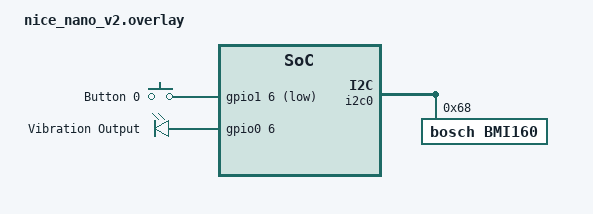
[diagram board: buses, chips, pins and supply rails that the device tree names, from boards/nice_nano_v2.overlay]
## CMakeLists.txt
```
#-------------------------------------------------------------------------------
# Zephyr Example Application
#
# Copyright (c) 2021 Nordic Semiconductor ASA
# SPDX-License-Identifier: Apache-2.0

cmake_minimum_required(VERSION 3.13.1)
find_package(Zephyr REQUIRED HINTS $ENV{ZEPHYR_BASE})
add_compile_options(-Wall -Wextra -Wpedantic)

project(app LANGUAGES C)

target_sources(app PRIVATE
    src/main.c
    src/bluetooth_support.c
    src/sensor_processing.c
    src/posture_detection.c
    src/vibration.c
    src/telemetry_storage.c)
```

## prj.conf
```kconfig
# Copyright (c) 2021 Nordic Semiconductor ASA
# SPDX-License-Identifier: Apache-2.0
#
# This file contains selected Kconfig options for the application.

CONFIG_SENSOR=y

CONFIG_INPUT=y
CONFIG_INPUT_GPIO_KEYS=y

CONFIG_POWEROFF=y
CONFIG_LOG=y
# Enable logging subsystem
CONFIG_LOG_DEFAULT_LEVEL=3
# Set log level (0=Off, 1=Error, 2=Warning, 3=Info, 4=Debug)
CONFIG_LOG_MODE_DEFERRED=y 
# Use deferred logging (better performance)
CONFIG_LOG_PROCESS_THREAD=y 
# Process logs in a dedicated thread
CONFIG_LOG_BACKEND_UART=y 
# Enable UART logging backend

CONFIG_I2C=y

CONFIG_CBPRINTF_COMPLETE=y
# Enable full printf formatting support
CONFIG_CBPRINTF_FP_SUPPORT=y
# Enable floating-point support in cbprintf
CONFIG_PICOLIBC=y
# Ensure Picolibc is used

CONFIG_BT=y

CONFIG_BT_SMP=y
CONFIG_BT_SIGNING=y
CONFIG_BT_PERIPHERAL=y
CONFIG_BT_MAX_PAIRED=1
CONFIG_BT_SETTINGS=y
CONFIG_BT_DIS=y
CONFIG_BT_ATT_PREPARE_COUNT=1
# CONFIG_BT_PRIVACY=y
CONFIG_BT_KEYS_OVERWRITE_OLDEST=y

CONFIG_BT_ZEPHYR_NUS=y
CONFIG_BT_DEVICE_NAME="Posture Tracker"
CONFIG_BT_L2CAP_TX_MTU=512
CONFIG_BT_BUF_ACL_RX_SIZE=516

# Let __ASSERT do its job
# CONFIG_DEBUG=y

CONFIG_FLASH=y
CONFIG_NVS=y
CONFIG_FCB=y
CONFIG_SETTINGS=y
CONFIG_SETTINGS_NVS=y
CONFIG_MPU_ALLOW_FLASH_WRITE=y
# CONFIG_SOC_FLASH_NRF_EMULATE_ONE_BYTE_WRITE_ACCESS=y

CONFIG_BMI160_ACCEL_ODR_50=y
```

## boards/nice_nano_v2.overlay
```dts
/ {
	gpio_keys {
		compatible = "gpio-keys";
		polling-mode;
		no-disconnect;
		debounce-interval-ms = <80>;
		button_0: button_0 {
			label = "Button 0";
			gpios = <&gpio1 6 (GPIO_ACTIVE_LOW | GPIO_PULL_UP)>;
			zephyr,code = <INPUT_KEY_0>;
		};
	};
longpress {
        compatible = "zephyr,input-longpress";
        input-codes = <INPUT_KEY_0>;
        short-codes = <INPUT_KEY_POWER>;
        long-codes = <INPUT_KEY_DELETE>;
        long-delay-ms = <2000>;
};

	gpio_outputs {
		compatible = "gpio-leds";
		vibration_output: gpio_output  {
			label = "Vibration Output";
			gpios = <&gpio0 6 GPIO_ACTIVE_HIGH>;
		};

	};


};

&i2c0 {
	status = "okay";
	bmi160@68 {
		compatible = "bosch,bmi160";
		reg = <0x68>;
	};

};
```

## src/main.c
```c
/*
 * Copyright (c) 2021 Nordic Semiconductor ASA
 * SPDX-License-Identifier: Apache-2.0
 */

#include "app/bluetooth_support.h"
#include "zephyr/drivers/gpio.h"
#include "zephyr/sys/poweroff.h"
#include "zephyr/sys/printk.h"
#include <zephyr/drivers/sensor.h>
#include <zephyr/input/input.h>
#include <zephyr/kernel.h>
#include <zephyr/logging/log.h>

#include "app/sensor_processing.h"

#include <app_version.h>

LOG_MODULE_REGISTER(main, CONFIG_APP_LOG_LEVEL);

#define BLINK_PERIOD_MS_STEP 100U
#define BLINK_PERIOD_MS_MAX 1000U

int init_device(const struct device *const dev) {

        if (!device_is_ready(dev)) {
                LOG_ERR("Device %s is not ready\n", dev->name);
                return 1;
        }

        printk("Device %p name is %s\n", dev, dev->name);

        return 0;
}

int main(void) {
        const struct device *const bmi160 = DEVICE_DT_GET_ANY(bosch_bmi160);

        printk("Zephyr not Example Application %s\n", APP_VERSION_STRING);

        if (init_device(bmi160)) {
                LOG_ERR("Gyro not ready");
                return 0;
        }

        printk("Initialization complete\n");

        sensor_processing_start(bmi160);

        while (1) {
                k_sleep(K_MSEC(500));
        } 

        return 0;
}
static void input_callback(struct input_event *event, void *user_data) {
        LOG_INF("Input event: type=%d, code=%d, value=%d", event->type,
                event->code, event->value);
        if (event->type != INPUT_EV_KEY || event->value != 0) {
                return;
        }
        if (event->code == INPUT_KEY_POWER) {

                const struct gpio_dt_spec power_button =
                    GPIO_DT_SPEC_GET(DT_NODELABEL(button_0), gpios);
                int rc = gpio_pin_configure_dt(&power_button, GPIO_INPUT);
                if (rc < 0) {
                        printf("Could not configure sw0 GPIO (%d)\n", rc);
                        return;
                }

                rc = gpio_pin_interrupt_configure_dt(&power_button,
                                                     GPIO_INT_LEVEL_ACTIVE);

                if (rc < 0) {
                        printf("Could not configure sw0 GPIO interrupt (%d)\n",
                               rc);
                        return;
                }
                printf("Power button pressed, shutting down...\n");
                sys_poweroff();
        } else if (event->code == INPUT_KEY_DELETE) {
                bluetooth_remove_bonded_peer();
        }
}

INPUT_CALLBACK_DEFINE(NULL, input_callback, NULL);
```

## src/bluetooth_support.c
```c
#include "app/posture_detection.h"
#include "app/telemetry_storage.h"
#include "services/nus/nus_internal.h"
#include "zephyr/bluetooth/addr.h"
#include "zephyr/bluetooth/bluetooth.h"
#include "zephyr/bluetooth/conn.h"
#include "zephyr/bluetooth/gap.h"
#include "zephyr/bluetooth/services/nus.h"
#include "zephyr/bluetooth/services/nus/inst.h"
#include "zephyr/init.h"
#include "zephyr/kernel.h"
#include "zephyr/logging/log.h"
#include "zephyr/settings/settings.h"

#include "app/bluetooth_support.h"

LOG_MODULE_REGISTER(bt_support, LOG_LEVEL_DBG);

enum bt_adv_type { BT_ADV_NONE, BT_ADV_OPEN, BT_ADV_DIR };

#define DEVICE_NAME CONFIG_BT_DEVICE_NAME
#define DEVICE_NAME_LEN (sizeof(DEVICE_NAME) - 1)
#define POSTURE_NOTIF ((const uint8_t[]){'N', 'P'})
#define MOVEMENT_NOTIF ((const uint8_t[]){'N', 'M'})
#define STATE_MARKER ((const uint8_t)'S')
#define SETTINGS_RESP_MARKER ((const uint8_t)'U')

#define TRANSFER_DONE_MARKER ((const uint8_t[]){'T', 'D'})

#define STATE_REQ_MARKER ((const uint8_t[]){'R', 'S'})
#define SETTINGS_REQ_MARKER ((const uint8_t[]){'R','U'})
#define SETTINGS_MARKER ((const uint8_t[]){'S'})
#define SETTING_CALIBRATION ((const uint8_t[]){'C'})
#define SETTING_WORKING_MARKER ((const uint8_t[]){'W'})
#define SETTING_TIMEOUT_MARKER ((const uint8_t[]){'T'})
#define SETTING_RANGE_MARKER ((const uint8_t[]){'R'})

#define TELEMETRY_MARKER ((const uint8_t[]){'T', 'E', 'L', 'E', 'M'})

static const struct bt_data ad[] = {
    BT_DATA_BYTES(BT_DATA_FLAGS, (BT_LE_AD_GENERAL | BT_LE_AD_NO_BREDR)),
    BT_DATA_BYTES(BT_DATA_UUID128_ALL, BT_UUID_NUS_SRV_VAL),
};

static const struct bt_data sd[] = {
    BT_DATA(BT_DATA_NAME_COMPLETE, DEVICE_NAME, DEVICE_NAME_LEN),
};

static enum bt_adv_type bt_adv_state;
static struct bt_conn *bt_conn;
static K_MUTEX_DEFINE(bt_conn_mutex);

static void copy_last_bonded_addr(const struct bt_bond_info *info, void *data) {
	bt_addr_le_t *bond_addr = data;

	// Copy the last bonded address
	bt_addr_le_copy(bond_addr, &info->addr);
}
static bool get_paired_peer(bt_addr_le_t *bond_addr) {
	bt_addr_le_copy(bond_addr, BT_ADDR_LE_NONE);
	bt_foreach_bond(BT_ID_DEFAULT, copy_last_bonded_addr, bond_addr);
	return bt_addr_le_cmp(bond_addr, BT_ADDR_LE_NONE) != 0;
}

static int update_advertisement(void) {
	enum bt_adv_type desired_adv_type = BT_ADV_NONE;

	bt_addr_le_t peer_address = {0};
	if (bt_conn == NULL) {
		if (get_paired_peer(&peer_address)) {
			char addr_str[BT_ADDR_LE_STR_LEN];
			bt_addr_le_to_str(&peer_address, addr_str, sizeof(addr_str));

			LOG_DBG("Directed advertising to %s", addr_str);
			desired_adv_type = BT_ADV_DIR;
		} else {
			desired_adv_type = BT_ADV_OPEN;
		}
	}

	LOG_INF("Changing adv state from %d to %d", bt_adv_state, desired_adv_type);

	if (desired_adv_type == bt_adv_state) {
		return 0;
	}

	if (bt_adv_state != BT_ADV_NONE) {
		int err = bt_le_adv_stop();
		if (err) {
			LOG_ERR("Failed to stop advertising (err %d)", err);
			return err;
		}
		bt_adv_state = BT_ADV_NONE;
	}

	if (desired_adv_type == BT_ADV_DIR) {
		// Doesn't work with my smartphone - using open advertisement
		if (bt_conn != NULL) {
			LOG_DBG(
			    "Skipping advertising, profile host is already "
			    "connected");
			return 0;
		}

		// struct bt_le_adv_param adv_param = *BT_LE_ADV_CONN_DIR_LOW_DUTY(&peer_address);
		// adv_param.options |= BT_LE_ADV_OPT_DIR_ADDR_RPA;
		// int err = bt_le_adv_start(&adv_param, NULL, 0, NULL, 0);
		int err = bt_le_adv_start(BT_LE_ADV_CONN_FAST_1, ad, ARRAY_SIZE(ad), sd, ARRAY_SIZE(sd));
		if (err) {
			LOG_ERR("Advertising failed to start (err %d)", err);
			return err;
		}
		bt_adv_state = BT_ADV_DIR;
	} else if (desired_adv_type == BT_ADV_OPEN) {
		int err = bt_le_adv_start(BT_LE_ADV_CONN_FAST_1, ad, ARRAY_SIZE(ad), sd, ARRAY_SIZE(sd));
		if (err) {
			LOG_ERR("Advertising failed to start (err %d)", err);
			return err;
		}
		bt_adv_state = BT_ADV_OPEN;
	}
	return 0;
}

static void update_advertising_callback(struct k_work *work) {
	(void)work;
	(void)update_advertisement();
}
K_WORK_DEFINE(update_advertisement_work, &update_advertising_callback);

static void le_param_updated(struct bt_conn *conn, uint16_t interval, uint16_t latency,
			     uint16_t timeout) {
	char addr[BT_ADDR_LE_STR_LEN];

	bt_addr_le_to_str(bt_conn_get_dst(conn), addr, sizeof(addr));

	LOG_DBG("%s: interval %d latency %d timeout %d", addr, interval, latency, timeout);
}

static void connected(struct bt_conn *conn, uint8_t err) {
	char addr[BT_ADDR_LE_STR_LEN];
	struct bt_conn_info info;

	(void)bt_conn_get_info(conn, &info);

	(void)bt_addr_le_to_str(bt_conn_get_dst(conn), addr, sizeof(addr));
	if (err) {
		LOG_WRN("Failed to connect to %s (%u)", addr, err);
		(void)update_advertisement();
		return;
	}

	k_mutex_lock(&bt_conn_mutex, K_FOREVER);
	// Bt advertisement has been stopped
	bt_adv_state = BT_ADV_NONE;
	bt_conn = bt_conn_ref(conn);
	k_mutex_unlock(&bt_conn_mutex);

	LOG_INF("Connected %s", addr);
	(void)update_advertisement();
}

static void disconnected(struct bt_conn *conn, uint8_t reason) {
	char addr[BT_ADDR_LE_STR_LEN];

	(void)bt_addr_le_to_str(bt_conn_get_dst(conn), addr, sizeof(addr));
	k_mutex_lock(&bt_conn_mutex, K_FOREVER);
	bt_conn_unref(bt_conn);
	bt_conn = NULL;
	k_mutex_unlock(&bt_conn_mutex);
	LOG_INF("Disconnected from %s, reson BT_HCI_ERR_ %d", addr, reason);

	// Update ad as work because bluetooth connection state isn't updated
	// here
	(void)k_work_submit(&update_advertisement_work);
}

static void security_changed(struct bt_conn *conn, bt_security_t level, enum bt_security_err err) {
	if (err) {
		LOG_ERR("Security failed (err %d)", err);
	} else {
		LOG_INF("Security level changed to %d", level);
	}
}

static struct bt_conn_cb conn_callbacks = {
    .connected = connected,
    .disconnected = disconnected,
    .le_param_updated = le_param_updated,
    .security_changed = security_changed,
};

static void auth_cancel(struct bt_conn *conn) {
	char addr[BT_ADDR_LE_STR_LEN];

	bt_addr_le_to_str(bt_conn_get_dst(conn), addr, sizeof(addr));

	LOG_DBG("Pairing cancelled: %s", addr);
}

static struct bt_conn_auth_cb auth_cbs = {
    .cancel = &auth_cancel,
};

static inline bool is_secure_enough(struct bt_conn *conn) {
	struct bt_conn_info info;
	int err = bt_conn_get_info(conn, &info);
	if (err != 0) {
		LOG_INF("Failed to get connection info (err %d)", err);
		return false;
	}
	return info.security.level >= BT_SECURITY_L2;
}

static void auth_pairing_complete(struct bt_conn *conn, bool bonded) {
	struct bt_conn_info info;
	char addr[BT_ADDR_LE_STR_LEN];
	const bt_addr_le_t *dst = bt_conn_get_dst(conn);

	bt_addr_le_to_str(dst, addr, sizeof(addr));
	bt_conn_get_info(conn, &info);

	if (info.role != BT_CONN_ROLE_PERIPHERAL) {
		LOG_DBG("SKIPPING FOR ROLE %d", info.role);
		return;
	}
	LOG_INF("Pairing completed");

	(void)update_advertisement();
};

static struct bt_conn_auth_info_cb ble_auth_info_cb_display = {
    .pairing_complete = &auth_pairing_complete,
};

static void bluetooth_send_buf(const uint8_t *buf, size_t len, bt_gatt_complete_func_t callback) {
	if (bt_conn == NULL) {
		LOG_INF("No connection, not sending data");
		return;
	}
	k_mutex_lock(&bt_conn_mutex, K_FOREVER);
	if (is_secure_enough(bt_conn)) {
		// Workaround for filling up all tx pool
		struct bt_nus_inst *instance = bt_nus_inst_default();
		struct bt_gatt_notify_params gatt_params = {
		    .attr = &instance->svc->attrs[1],
		    .data = buf,
		    .len = len,
		    .func = callback,
		};
		int err = bt_gatt_notify_cb(bt_conn, &gatt_params);
		if (err != 0) {
			LOG_ERR("Failed to send data (err %d)", err);
		} else {
			LOG_DBG("Sent %zu bytes", len);
		}
	}
	k_mutex_unlock(&bt_conn_mutex);
}

static void bluetooth_support_notify_settings(void) {
	struct posture_settings settings = posture_detection_get_settings();
	uint8_t buf[sizeof(SETTINGS_RESP_MARKER) + sizeof settings] = {SETTINGS_RESP_MARKER};
	memcpy(buf + sizeof(SETTINGS_RESP_MARKER), &settings, sizeof settings );
	bluetooth_send_buf(buf, sizeof buf, NULL);
}

static void parse_setting_payload(const uint8_t *data, size_t len) {
	size_t offset = 0;
	while (len > offset) {
		if (len - offset < sizeof(SETTING_CALIBRATION)) {
			LOG_ERR("Invalid settings payload");
			return;
		}
		if (memcmp(data + offset, SETTING_CALIBRATION, sizeof(SETTING_CALIBRATION)) == 0) {
			LOG_INF("Calibration settings received");
			offset += sizeof(SETTING_CALIBRATION);
			posture_detection_do_calibration();
		} else {
			if (len - offset < sizeof(SETTING_TIMEOUT_MARKER) + 1) {
				LOG_ERR("Invalid settings value");
				return;
			}
			if (memcmp(data + offset, SETTING_TIMEOUT_MARKER,
				   sizeof(SETTING_TIMEOUT_MARKER)) == 0) {
				offset += sizeof(SETTING_TIMEOUT_MARKER);
				LOG_INF("Timeout marker settings received %d", data[offset]);
				posture_detection_set_timeout(data[offset]);
				offset++;
			} else if (memcmp(data + offset, SETTING_WORKING_MARKER,
					  sizeof(SETTING_WORKING_MARKER)) == 0) {
				LOG_INF("Working marker settings received %d", data[offset]);
				offset += sizeof(SETTING_WORKING_MARKER);
				posture_detection_set_enabled(data[offset]);
				offset++;
			} else if (memcmp(data + offset, SETTING_RANGE_MARKER,
					  sizeof(SETTING_RANGE_MARKER)) == 0) {
				LOG_INF("Range marker settings received %d", data[offset]);
				offset += sizeof(SETTING_RANGE_MARKER);
				posture_detection_set_working_range(data[offset]);
				offset++;
			} else {
				LOG_ERR("Unknown setting marker");
				return;
			}
		}
	}
	posture_detection_save_settings();
	bluetooth_support_notify_settings();
}

static void transfer_telemetry_callback(struct bt_conn *, void *);

struct telemetry_transfer_work {
	struct k_work work;
	unsigned piece;
};

static void transfer_telemetry(struct k_work *work) {
	(void)work;
	struct telemetry_transfer_work *telemetry_trans =
	    CONTAINER_OF(work, struct telemetry_transfer_work, work);
	static uint8_t telemetry_buf[500];
	telemetry_buf[0] = telemetry_trans->piece;
	telemetry_trans->piece++;
	size_t len = sizeof(telemetry_buf) - 1;
	int err = telemetry_get_portion(telemetry_buf + 1, &len);
	if (err < 0) {
		LOG_ERR("Failed to get telemetry portion (err %d)", err);
		bluetooth_send_buf(TRANSFER_DONE_MARKER, sizeof(TRANSFER_DONE_MARKER), NULL);
		return;
	}
	if (err == 1 && len == 0) {
		LOG_INF("Done telemetry transfer");
		bluetooth_send_buf(TRANSFER_DONE_MARKER, sizeof(TRANSFER_DONE_MARKER), NULL);
		return;
	}
	bluetooth_send_buf(telemetry_buf, len + 1, transfer_telemetry_callback);
}

static struct telemetry_transfer_work telemetry_work;

static void start_telemetry_transfer(void) {
	k_work_init(&telemetry_work.work, &transfer_telemetry);
	telemetry_work.piece = 0;
	// Reset internal pointer
	(void)telemetry_get_portion(NULL, NULL);
	k_work_submit(&telemetry_work.work);
}

static void transfer_telemetry_callback(struct bt_conn *, void *) {
	k_work_init(&telemetry_work.work, &transfer_telemetry);
	k_work_submit(&telemetry_work.work);
}

void bluetooth_support_notify_state(enum posture_state state) {
	uint8_t send_buf[] = {STATE_MARKER, (uint8_t)state};
	bluetooth_send_buf(send_buf, sizeof send_buf, NULL);
}

static void bt_data_received(struct bt_conn *conn, const void *data, uint16_t len, void *) {
	if (conn != bt_conn) {
		LOG_WRN("Received data from unknown connection");
		return;
	}

	if (!is_secure_enough(conn)) {
		LOG_WRN("Security level too low, ignoring data");
		return;
	}
	LOG_DBG("Received data: %.*s", len, (char *)data);
	if (len > sizeof(SETTINGS_MARKER) &&
	    memcmp(data, SETTINGS_MARKER, sizeof(SETTINGS_MARKER)) == 0) {
		LOG_INF("Settings received");
		parse_setting_payload((const uint8_t *)data + sizeof(SETTINGS_MARKER),
				      len - sizeof(SETTINGS_MARKER));
	} else if (len == sizeof(TELEMETRY_MARKER) &&
		   memcmp(data, TELEMETRY_MARKER, sizeof(TELEMETRY_MARKER)) == 0) {
		LOG_INF("Telemetry marker received");
		start_telemetry_transfer();
	} else if (len == sizeof(STATE_REQ_MARKER) && memcmp(data, STATE_REQ_MARKER, sizeof(STATE_REQ_MARKER)) == 0) {
		LOG_INF("Sending state");
		bluetooth_support_notify_state(posture_detection_get_state());
	} else if (len == sizeof(SETTINGS_REQ_MARKER) && memcmp(data, SETTINGS_REQ_MARKER, sizeof(SETTINGS_REQ_MARKER)) == 0) {
		LOG_INF("Sending sett");
		bluetooth_support_notify_settings();
	} else {
		LOG_INF("Unknown data received");
	}
}

static void notif_enabled(bool notif, void *) {
	LOG_INF("Notif status changed %d", notif);
}

static struct bt_nus_cb nus_callbacks = {
    .notif_enabled = notif_enabled,
    .received = bt_data_received,
};

static int bluetooth_init(void) {
	int err;
	err = bt_enable(NULL);
	if (err != 0) {
		LOG_ERR("Error enabling bluetooth %d", err);
		return err;
	}

	if (IS_ENABLED(CONFIG_BT_SETTINGS)) {
		settings_load();
	}

	bt_conn_cb_register(&conn_callbacks);
	bt_conn_auth_cb_register(&auth_cbs);
	bt_conn_auth_info_cb_register(&ble_auth_info_cb_display);
	bt_nus_cb_register(&nus_callbacks, NULL);
	k_work_submit(&update_advertisement_work);
	return 0;
}
SYS_INIT(bluetooth_init, APPLICATION, 1);

void bluetooth_support_notify_posture(void) {
	bluetooth_send_buf(POSTURE_NOTIF, sizeof(POSTURE_NOTIF), NULL);
}

void bluetooth_support_notify_movement(void) {
	bluetooth_send_buf(MOVEMENT_NOTIF, sizeof(MOVEMENT_NOTIF), NULL);
}

void bluetooth_remove_bonded_peer(void) {
	LOG_INF("Removing bonded peer");
	bt_unpair(BT_ID_DEFAULT, NULL);
	update_advertisement();
}
```

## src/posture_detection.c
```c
#include "app/posture_detection.h"

#include <stdlib.h>
#include <zephyr/kernel.h>
#include <zephyr/logging/log.h>

#include "app/telemetry_storage.h"
#include "app/vibration.h"
#include "app/bluetooth_support.h"
#include "zephyr/settings/settings.h"

LOG_MODULE_REGISTER(posture_detection, LOG_LEVEL_INF);

#define MOVEMENT_THRESHOLD 1000u

#define POSTURE_DETECTION_ANGLE_THRESHOLD 50

#define POSTURE_NO_MOVEMENT_TIMEOUT_S (60u * 30u)

#define TELEMETRY_SUBMIT_TIMEOUT_S (60u * 30u)

#define HISTEREZIS_ANGLE 2

#define SETTINGS_NAME "posture_detection"

struct posture_work {
	struct k_work work;
	struct posture_data data;

	enum posture_state state;
	int64_t state_start_ts;
	int64_t movement_notification_ts;
	int64_t telemetry_submit_ts;

	bool is_vibrating : 1;

	struct telemetry telemetry;
};


static bool calibration_flag = false;

static struct posture_settings settings = {
	.detection_range = 15,
	.detection_time = 10,
	.is_notifying = true,
	.x_angle_calibration = 5,
};

static int settings_set(const char *name, size_t len, settings_read_cb read_cb, void *cb_arg)
{
    int rc;
	LOG_INF("Settings set: %s, len: %zu", name, len);
    if (*name == '\0') {
        if (len != sizeof(settings)) {
            return -EINVAL;
        }

        rc = read_cb(cb_arg, &settings, sizeof(settings));
        if (rc < 0) {
            return rc;
        }
    }

    return 0;
}

static int settings_export(int (*cb)(const char *name, const void *value, size_t val_len))
{
    return cb(SETTINGS_NAME, &settings, sizeof(settings));
}

SETTINGS_STATIC_HANDLER_DEFINE(posture_detection, "posture_detection", NULL, settings_set, NULL, settings_export);

static inline bool is_posture_angle_in_valid_range(const struct posture_data *data,
						   enum posture_state state) {
	int histeresis_angle = HISTEREZIS_ANGLE;
	if (state == POSTURE_STATE_INVALID) {
		histeresis_angle = -HISTEREZIS_ANGLE;
	}
	return abs(data->x_angle) - histeresis_angle < POSTURE_DETECTION_ANGLE_THRESHOLD &&
	       abs(data->y_angle) - histeresis_angle < POSTURE_DETECTION_ANGLE_THRESHOLD;
}

static inline bool is_posture_angle_correct(const struct posture_data *data,
					    enum posture_state state) {
	int histeresis_angle =
	    (state == POSTURE_STATE_CORRECT) ? HISTEREZIS_ANGLE : -HISTEREZIS_ANGLE;
	return (abs(data->x_angle + settings.x_angle_calibration) - histeresis_angle <
		    settings.detection_range &&
		abs(data->y_angle) - histeresis_angle < settings.detection_range);
}

static void update_stats(struct posture_work *posture_work) {
	unsigned seconds_state = (k_uptime_get() - posture_work->state_start_ts) / 1000;
	LOG_DBG("Posture state changed from %d, old state %u seconds", posture_work->state,
		seconds_state);
	struct telemetry *telemetry = &posture_work->telemetry;
	if (posture_work->state != POSTURE_STATE_MOVEMENTS) {
		telemetry->seconds_not_moving += seconds_state;
	}

	if (posture_work->state == POSTURE_STATE_CORRECT ) {
		telemetry->seconds_in_good_posture += seconds_state;
	}

	if (posture_work->state == POSTURE_STATE_INCORRECT) {
		telemetry->seconds_in_bad_posture += seconds_state;
	}	
}

static void process_data(struct k_work *work) {
	struct posture_work *posture_work = CONTAINER_OF(work, struct posture_work, work);
	struct posture_data data = posture_work->data;
	if (posture_work->state_start_ts == 0) {
		posture_work->state_start_ts = k_uptime_get();
		posture_work->movement_notification_ts = k_uptime_get();
		posture_work->telemetry_submit_ts = k_uptime_get();
	}

	enum posture_state wanted_state = POSTURE_STATE_CORRECT;
	bool is_moving = data.cm_s2_max_accel_diff > MOVEMENT_THRESHOLD;

	if (is_moving) {
		wanted_state = POSTURE_STATE_MOVEMENTS;
	} else if (!is_posture_angle_in_valid_range(&data, posture_work->state)) {
		wanted_state = POSTURE_STATE_INVALID;
	} else if (!is_posture_angle_correct(&data, posture_work->state)) {
		wanted_state = POSTURE_STATE_INCORRECT;
	} else {
		wanted_state = POSTURE_STATE_CORRECT;
	}

	if (calibration_flag && wanted_state == POSTURE_STATE_CORRECT) {
		calibration_flag = false;
		settings.x_angle_calibration = (int8_t)data.x_angle;
		LOG_INF("Calibration done, new offset %d", settings.x_angle_calibration);
	}

	if (!settings.is_notifying && wanted_state != POSTURE_STATE_MOVEMENTS) {
		wanted_state = POSTURE_STATE_INVALID;
	}

	uint32_t movement_time_diff_s =
	    (k_uptime_get() - posture_work->movement_notification_ts) / 1000;
	if (posture_work->state != POSTURE_STATE_MOVEMENTS &&
	    movement_time_diff_s > POSTURE_NO_MOVEMENT_TIMEOUT_S) {
		vibration_short_start();
		bluetooth_support_notify_movement();

		posture_work->telemetry.activeness_notifications++;
		posture_work->movement_notification_ts = k_uptime_get();
	}

	bool is_telemetry_timeout_expired =
	    (k_uptime_get() - posture_work->telemetry_submit_ts) / 1000 >
	    TELEMETRY_SUBMIT_TIMEOUT_S;
	if (is_telemetry_timeout_expired) {
		update_stats(posture_work);
		posture_work->state_start_ts = k_uptime_get();
		posture_work->telemetry_submit_ts = k_uptime_get();
		telemetry_storage_submit(&posture_work->telemetry);
		posture_work->telemetry = (struct telemetry){0};
	}

	if (wanted_state == posture_work->state) {
		bool is_incorrect_timeout_expired =
		    (k_uptime_get() - posture_work->state_start_ts) / 1000 >
		    settings.detection_time;
		if (wanted_state == POSTURE_STATE_INCORRECT && is_incorrect_timeout_expired &&
		    !posture_work->is_vibrating) {
			posture_work->is_vibrating = true;
			bluetooth_support_notify_posture();
			vibration_start();

			posture_work->telemetry.posture_notifications++;
		}
		// Nothing to do
		return;
	}

	if (posture_work->is_vibrating) {
		vibration_stop();
		posture_work->is_vibrating = false;
	}

	if (posture_work->state == POSTURE_STATE_MOVEMENTS) {
		posture_work->movement_notification_ts = k_uptime_get();
	}

	update_stats(posture_work);
	posture_work->state = wanted_state;
	LOG_INF("Posture state changed to %d", posture_work->state);
	posture_work->state_start_ts = k_uptime_get();
	bluetooth_support_notify_state(wanted_state);
}

static struct posture_work process_data_work = {
    .work = Z_WORK_INITIALIZER(process_data),
};
void posture_detection_update(struct posture_data *data) {
	if (k_work_is_pending(&process_data_work.work)) {
		return;
	}
	process_data_work.data = *data;
	k_work_submit(&process_data_work.work);
}
void posture_detection_do_calibration(void) {
	calibration_flag = true;
}

void posture_detection_set_timeout(uint8_t timeout) {
	settings.detection_time = timeout;
}

void posture_detection_set_enabled(bool enabled) {
	settings.is_notifying = enabled;
}

void posture_detection_set_working_range(uint8_t range) {
	settings.detection_range = range;
}

enum posture_state posture_detection_get_state(void) {
	return process_data_work.state;
}

struct posture_settings posture_detection_get_settings() {
	return settings;
}

void posture_detection_save_settings(void) {
	int rc = settings_save();
	if (rc < 0) {
		LOG_ERR("Failed to save settings %d", rc);
	} else {
		LOG_INF("Settings saved");
	}
}
```

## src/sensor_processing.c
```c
#include "zephyr/drivers/sensor.h"
#include "zephyr/logging/log.h"
#include <math.h>

#include "app/sensor_processing.h"
#include "app/posture_detection.h"

LOG_MODULE_REGISTER(sensor_processing, LOG_LEVEL_INF);

#define M_PI 3.14159265358979323846

#define MOVEMENT_THRESHOLD 200u

#define MEASUREMENTS_POOL 10

struct accel_cm_s2_ts {
  int16_t x;
  int16_t y;
  int16_t z;
  int32_t timestamp;
};

struct proceess_sensor_arg {
  struct k_work_delayable work;
  const struct device *accel_sensor;
  struct accel_cm_s2_ts last_measurements[MEASUREMENTS_POOL];
  unsigned measurement_used;
  int64_t start_ts;
};

struct angle {
  int16_t main;
  int16_t side;
};

static inline int16_t convert_to_cm_s2(const struct sensor_value val) {
  return (int16_t)(val.val1 * 1000 + val.val2 / 1000);
}

static struct accel_cm_s2_ts
from_sensor_vals(const struct sensor_value val[3]) {
  return (struct accel_cm_s2_ts){
      .x = convert_to_cm_s2(val[0]),
      .y = convert_to_cm_s2(val[1]),
      .z = convert_to_cm_s2(val[2]),
      .timestamp = (uint32_t)k_uptime_get(),
  };
}

static struct angle
accel_to_avg_angle(const struct accel_cm_s2_ts accels[MEASUREMENTS_POOL]) {
  int32_t x = 0;
  int32_t y = 0;
  int32_t z = 0;
  for (unsigned i = 0; i < MEASUREMENTS_POOL; i++) {
    x += accels[i].x;
    y += accels[i].y;
    z += accels[i].z;
  }
  x /= MEASUREMENTS_POOL;
  y /= MEASUREMENTS_POOL;
  z /= MEASUREMENTS_POOL;

  float main_angle_rad = atan2f((float)z, (float)y);
  float side_angle_rad = atan2f((float)x, (float)y);
  return (struct angle){
      .main = (int16_t)(main_angle_rad * 180.0f / (float)M_PI),
      .side = (int16_t)(side_angle_rad * 180.0f / (float)M_PI),
  };
}

static inline unsigned norm_accel(const struct accel_cm_s2_ts accel) {
  return sqrtf(accel.x * accel.x + accel.y * accel.y + accel.z * accel.z);
}

static unsigned
max_accel_diff(const struct accel_cm_s2_ts values[MEASUREMENTS_POOL]) {
    unsigned max_diff = 0;
    int norm = norm_accel(values[0]);
  for (unsigned i = 1; i < MEASUREMENTS_POOL; i++) {
    int norm_i = norm_accel(values[i]);
    unsigned diff = abs(norm_i - norm);
    if (diff > max_diff) {
        max_diff = diff;
    }
    norm = norm_i;
  }
  return max_diff;
}

static void process_sensor(struct k_work *work) {
  struct k_work_delayable *dwork = k_work_delayable_from_work(work);
  struct proceess_sensor_arg *arg_struct =
      CONTAINER_OF(dwork, struct proceess_sensor_arg, work);
  const struct device *sensor = arg_struct->accel_sensor;
  if (sensor == NULL) {
    LOG_ERR("Sensor not present. Stoping processing");
    return;
  }
  // In case the function is called for the first time
  if (arg_struct->start_ts == 0) {
    arg_struct->start_ts = k_uptime_get();
  }

  if (sensor_sample_fetch(sensor) < 0) {
    LOG_ERR("Sensor fetch error. Stopping processing");
    return;
  }
  struct sensor_value val[3];

  if (sensor_channel_get(sensor, SENSOR_CHAN_ACCEL_XYZ, val) < 0) {
    LOG_ERR("Sensor data get error. Stopping processing");
    return;
  }

  struct accel_cm_s2_ts measurement = from_sensor_vals(val);
  arg_struct->last_measurements[arg_struct->measurement_used] = measurement;
  arg_struct->measurement_used++;

  if (arg_struct->measurement_used >= MEASUREMENTS_POOL) {
    unsigned max_acc_diff =
        max_accel_diff(arg_struct->last_measurements);
    struct angle angles = accel_to_avg_angle(arg_struct->last_measurements);
    LOG_DBG("Movement_detected: %d, Angles: %d, %d", max_acc_diff,
            angles.main, angles.side);
    struct posture_data data = {
        .x_angle = angles.main,
        .y_angle = angles.side,
        .cm_s2_max_accel_diff = max_acc_diff,
    };
    posture_detection_update(&data);

    arg_struct->measurement_used = 0;
    arg_struct->start_ts = k_uptime_get();
  }

  k_work_reschedule(&arg_struct->work, K_MSEC(50));
}

static struct proceess_sensor_arg sensor_arg = {
    .accel_sensor = NULL,
    .measurement_used = 0,
    .start_ts = 0,
};

void sensor_processing_start(const struct device *const accel_sensor) {
  sensor_arg.accel_sensor = accel_sensor;
  k_work_init_delayable(&sensor_arg.work, process_sensor);
  k_work_schedule(&sensor_arg.work, K_MSEC(50));
}

void sensor_processing_stop(void) {
  if (sensor_arg.accel_sensor == NULL) {
    return;
  }
  struct k_work_sync sync;
  k_work_cancel_delayable_sync(&sensor_arg.work, &sync);
  sensor_arg = (struct proceess_sensor_arg){};
}
```

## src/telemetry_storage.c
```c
#include "app/telemetry_storage.h"

#include <zephyr/logging/log.h>

#include "zephyr/fs/fcb.h"
#include "zephyr/kernel.h"

LOG_MODULE_REGISTER(telemetry_storage, LOG_LEVEL_DBG);

struct telemetry_work {
	struct k_work work;
	struct telemetry telemetry;
};

static struct telemetry_work work;

#define SECTOR_SIZE 0x1000 /* 4K */

static struct flash_sector fcb_sector[] = {
    [0] =
	{
	    .fs_off = 0,
	    .fs_size = SECTOR_SIZE
	},
    [1] = {.fs_off = SECTOR_SIZE, .fs_size = SECTOR_SIZE},
};

static struct fcb telemetry_storage = {
    .f_sector_cnt = ARRAY_SIZE(fcb_sector),
    .f_sectors = fcb_sector,
    .f_scratch_cnt = 0,
    .f_magic = 0xFBCB,
    .f_version = 1,
};

static void telemetry_handle(struct k_work *work) {
	struct telemetry_work *telemetry_work = CONTAINER_OF(work, struct telemetry_work, work);
	struct telemetry *telemetry = &telemetry_work->telemetry;
	// TODO: Fix telemetry timestamp
	telemetry->timestamp = k_uptime_get();
	LOG_INF("Telemetry data: %d", telemetry->timestamp);

        struct fcb_entry entry;
	int rc = fcb_append(&telemetry_storage, sizeof *telemetry, &entry);
        if (rc == -ENOSPC) {
                LOG_INF("Rotating sectors");
                rc = fcb_rotate(&telemetry_storage);
                if (rc != 0) {
                        LOG_ERR("FCB rotate failed: %d", rc);
                        return;
                }
                rc = fcb_append(&telemetry_storage, sizeof *telemetry, &entry);
                if (rc != 0) {
                        LOG_ERR("FCB append failed after rotation: %d", rc);
                        return;
                }
        } else if (rc < 0) {
                LOG_ERR("FCB append failed: %d", rc);
                return;
        }
        rc = flash_area_write(telemetry_storage.fap, FCB_ENTRY_FA_DATA_OFF(entry),
                              telemetry, sizeof *telemetry);
        if (rc != 0) {
                LOG_ERR("FCB write failed: %d", rc);
        }
        rc = fcb_append_finish(&telemetry_storage, &entry);
        if (rc != 0) {
                LOG_ERR("FCB append finish failed: %d", rc);
        
        }
}

void telemetry_storage_submit(struct telemetry *telemetry) {
	if (k_work_is_pending(&work.work)) {
		return;
	}
	k_work_init(&work.work, telemetry_handle);
	work.telemetry = *telemetry;
	k_work_submit(&work.work);
}

int telemetry_get_portion(uint8_t *buf, size_t *len) {
        static struct fcb_entry loc_ctx = {0};
        if (len == NULL) {
                loc_ctx = (struct fcb_entry){0};
                return 0;
        }
        size_t write_off = 0;
        while (write_off + sizeof(struct telemetry) <= *len) {
                int rc = fcb_getnext(&telemetry_storage, &loc_ctx);
                if (rc == -ENOTSUP) {
                        LOG_INF("FCB telem end");
                        *len = write_off;
                        return 1;
                } else if (rc < 0) {
                        LOG_ERR("FCB getnext failed: %d", rc);
                        return rc;
                }
                struct telemetry telemetry;
                rc = flash_area_read(telemetry_storage.fap, FCB_ENTRY_FA_DATA_OFF(loc_ctx),
                                     &telemetry, sizeof(telemetry));
                if (rc != 0) {
                        LOG_ERR("FCB read failed: %d", rc);
                        return rc;
                }
                memcpy(buf + write_off, &telemetry, sizeof(telemetry));
                write_off += sizeof(telemetry);
        }
        *len = write_off;
        return 0;
}

static int telemetry_storage_init(void) {
	int rc = fcb_init(FIXED_PARTITION_ID(telemetry_partition), &telemetry_storage);
	if (rc != 0) {
		LOG_ERR("FCB init failed: %d", rc);
                return rc;
	}
        // fcb_walk(&telemetry_storage, NULL, telemetry_walk_cb, NULL);
	LOG_INF("FCB init success, Empyt: %d", fcb_is_empty(&telemetry_storage));
	return rc;
}

SYS_INIT(telemetry_storage_init, APPLICATION, 2);
```

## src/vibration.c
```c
#include "app/vibration.h"

#include <zephyr/drivers/gpio.h>

static const struct gpio_dt_spec vibration_control =
    GPIO_DT_SPEC_GET(DT_NODELABEL(vibration_output), gpios);
static bool is_vibrating = false;

static void vibration_work_handler(struct k_work *) { vibration_stop(); }

static K_WORK_DELAYABLE_DEFINE(stop_vibration_work, vibration_work_handler);

void vibration_start(void) {
        if (is_vibrating) {
                return;
        }
        is_vibrating = true;
        (void)gpio_pin_set_dt(&vibration_control, 1);
}

void vibration_short_start(void) {
        vibration_start();
        k_work_schedule(&stop_vibration_work, K_MSEC(VIBRATION_SHORT_DURATION));
}

void vibration_stop(void) {
        if (!is_vibrating) {
                return;
        }
        is_vibrating = false;
        gpio_pin_set_dt(&vibration_control, 0);
}

static int vibration_gpio_init(void) {
        if (!device_is_ready(vibration_control.port)) {
                return -1;
        }

        int ret =
            gpio_pin_configure_dt(&vibration_control, GPIO_OUTPUT_INACTIVE);
        return ret;
}
SYS_INIT(vibration_gpio_init, APPLICATION, 1);
```
